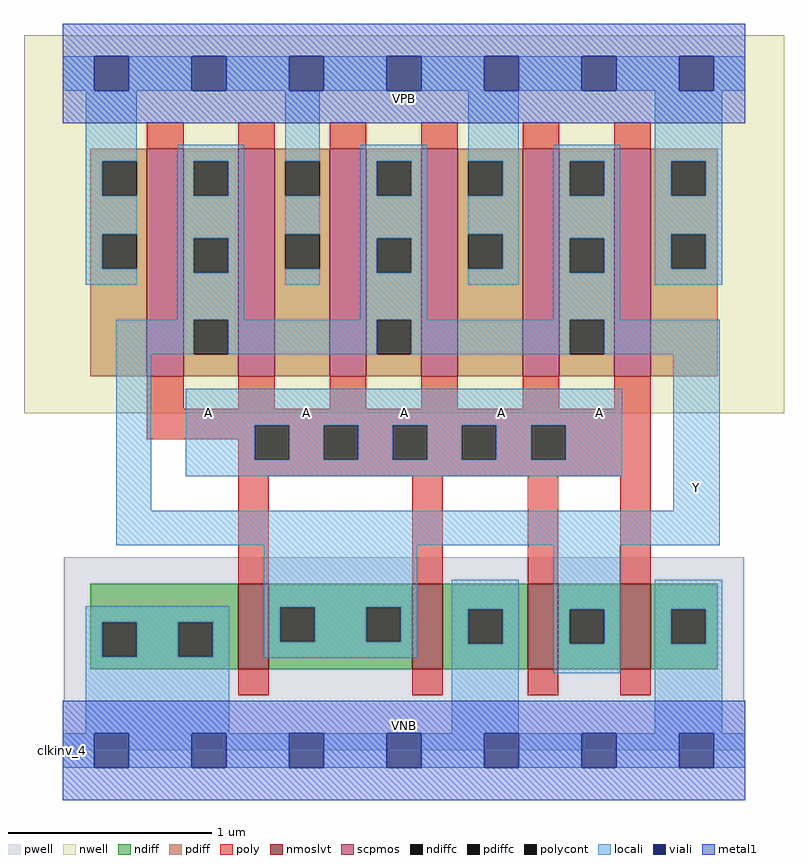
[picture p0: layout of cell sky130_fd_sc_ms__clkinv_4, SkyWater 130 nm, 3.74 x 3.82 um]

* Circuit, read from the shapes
.subckt sky130_fd_sc_ms__clkinv_4 A VGND VNB VPB VPWR Y
XM1 Y A VGND VNB sky130_fd_pr__nfet_01v8_lvt w=0.42 l=0.15 m=4
XM2 Y A VPWR VPB sky130_fd_pr__pfet_01v8 w=1.12 l=0.18 m=6
.ends

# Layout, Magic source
magic
tech sky130A
magscale 1 2
<< nwell >>
rect -38 332 710 704
<< pwell >>
rect 1 49 671 190
rect 0 0 672 49
<< scpmos >>
rect 83 368 119 592
rect 173 368 209 592
rect 263 368 299 592
rect 353 368 389 592
rect 453 368 489 592
rect 543 368 579 592
<< nmoslvt >>
rect 173 80 203 164
rect 344 80 374 164
rect 458 80 488 164
rect 549 80 579 164
<< ndiff >>
rect 27 126 173 164
rect 27 92 39 126
rect 73 92 114 126
rect 148 92 173 126
rect 27 80 173 92
rect 203 141 344 164
rect 203 107 214 141
rect 248 107 299 141
rect 333 107 344 141
rect 203 80 344 107
rect 374 139 458 164
rect 374 105 399 139
rect 433 105 458 139
rect 374 80 458 105
rect 488 139 549 164
rect 488 105 499 139
rect 533 105 549 139
rect 488 80 549 105
rect 579 139 645 164
rect 579 105 599 139
rect 633 105 645 139
rect 579 80 645 105
<< pdiff >>
rect 27 580 83 592
rect 27 546 39 580
rect 73 546 83 580
rect 27 508 83 546
rect 27 474 39 508
rect 73 474 83 508
rect 27 368 83 474
rect 119 580 173 592
rect 119 546 129 580
rect 163 546 173 580
rect 119 504 173 546
rect 119 470 129 504
rect 163 470 173 504
rect 119 424 173 470
rect 119 390 129 424
rect 163 390 173 424
rect 119 368 173 390
rect 209 580 263 592
rect 209 546 219 580
rect 253 546 263 580
rect 209 508 263 546
rect 209 474 219 508
rect 253 474 263 508
rect 209 368 263 474
rect 299 580 353 592
rect 299 546 309 580
rect 343 546 353 580
rect 299 504 353 546
rect 299 470 309 504
rect 343 470 353 504
rect 299 424 353 470
rect 299 390 309 424
rect 343 390 353 424
rect 299 368 353 390
rect 389 580 453 592
rect 389 546 399 580
rect 433 546 453 580
rect 389 508 453 546
rect 389 474 399 508
rect 433 474 453 508
rect 389 368 453 474
rect 489 580 543 592
rect 489 546 499 580
rect 533 546 543 580
rect 489 504 543 546
rect 489 470 499 504
rect 533 470 543 504
rect 489 424 543 470
rect 489 390 499 424
rect 533 390 543 424
rect 489 368 543 390
rect 579 580 645 592
rect 579 546 599 580
rect 633 546 645 580
rect 579 508 645 546
rect 579 474 599 508
rect 633 474 645 508
rect 579 368 645 474
<< ndiffc >>
rect 39 92 73 126
rect 114 92 148 126
rect 214 107 248 141
rect 299 107 333 141
rect 399 105 433 139
rect 499 105 533 139
rect 599 105 633 139
<< pdiffc >>
rect 39 546 73 580
rect 39 474 73 508
rect 129 546 163 580
rect 129 470 163 504
rect 129 390 163 424
rect 219 546 253 580
rect 219 474 253 508
rect 309 546 343 580
rect 309 470 343 504
rect 309 390 343 424
rect 399 546 433 580
rect 399 474 433 508
rect 499 546 533 580
rect 499 470 533 504
rect 499 390 533 424
rect 599 546 633 580
rect 599 474 633 508
<< poly >>
rect 83 592 119 618
rect 173 592 209 618
rect 263 592 299 618
rect 353 592 389 618
rect 453 592 489 618
rect 543 592 579 618
rect 83 336 119 368
rect 173 336 209 368
rect 263 336 299 368
rect 353 336 389 368
rect 453 336 489 368
rect 543 336 579 368
rect 83 320 579 336
rect 83 306 189 320
rect 173 286 189 306
rect 223 286 257 320
rect 291 286 325 320
rect 359 286 393 320
rect 427 286 461 320
rect 495 286 579 320
rect 173 270 579 286
rect 173 164 203 270
rect 344 164 374 270
rect 458 164 488 270
rect 549 164 579 270
rect 173 54 203 80
rect 344 54 374 80
rect 458 54 488 80
rect 549 54 579 80
<< polycont >>
rect 189 286 223 320
rect 257 286 291 320
rect 325 286 359 320
rect 393 286 427 320
rect 461 286 495 320
<< locali >>
rect 0 649 31 683
rect 65 649 127 683
rect 161 649 223 683
rect 257 649 319 683
rect 353 649 415 683
rect 449 649 511 683
rect 545 649 607 683
rect 641 649 672 683
rect 23 580 73 649
rect 23 546 39 580
rect 23 508 73 546
rect 23 474 39 508
rect 23 458 73 474
rect 113 580 179 596
rect 113 546 129 580
rect 163 546 179 580
rect 113 504 179 546
rect 113 470 129 504
rect 163 470 179 504
rect 113 424 179 470
rect 219 580 253 649
rect 219 508 253 546
rect 219 458 253 474
rect 293 580 359 596
rect 293 546 309 580
rect 343 546 359 580
rect 293 504 359 546
rect 293 470 309 504
rect 343 470 359 504
rect 293 424 359 470
rect 399 580 449 649
rect 433 546 449 580
rect 399 508 449 546
rect 433 474 449 508
rect 399 458 449 474
rect 483 580 549 596
rect 483 546 499 580
rect 533 546 549 580
rect 483 504 549 546
rect 483 470 499 504
rect 533 470 549 504
rect 483 424 549 470
rect 583 580 649 649
rect 583 546 599 580
rect 633 546 649 580
rect 583 508 649 546
rect 583 474 599 508
rect 633 474 649 508
rect 583 458 649 474
rect 53 390 129 424
rect 163 390 309 424
rect 343 390 499 424
rect 533 390 647 424
rect 53 236 87 390
rect 121 320 551 356
rect 121 286 189 320
rect 223 286 257 320
rect 291 286 325 320
rect 359 286 393 320
rect 427 286 461 320
rect 495 286 551 320
rect 121 270 551 286
rect 601 236 647 390
rect 53 202 647 236
rect 23 126 164 142
rect 23 92 39 126
rect 73 92 114 126
rect 148 92 164 126
rect 23 17 164 92
rect 198 141 349 202
rect 198 107 214 141
rect 248 107 299 141
rect 333 107 349 141
rect 198 91 349 107
rect 383 139 449 168
rect 383 105 399 139
rect 433 105 449 139
rect 383 17 449 105
rect 483 139 549 202
rect 483 105 499 139
rect 533 105 549 139
rect 483 76 549 105
rect 583 139 649 168
rect 583 105 599 139
rect 633 105 649 139
rect 583 17 649 105
rect 0 -17 31 17
rect 65 -17 127 17
rect 161 -17 223 17
rect 257 -17 319 17
rect 353 -17 415 17
rect 449 -17 511 17
rect 545 -17 607 17
rect 641 -17 672 17
<< viali >>
rect 31 649 65 683
rect 127 649 161 683
rect 223 649 257 683
rect 319 649 353 683
rect 415 649 449 683
rect 511 649 545 683
rect 607 649 641 683
rect 31 -17 65 17
rect 127 -17 161 17
rect 223 -17 257 17
rect 319 -17 353 17
rect 415 -17 449 17
rect 511 -17 545 17
rect 607 -17 641 17
<< metal1 >>
rect 0 683 672 715
rect 0 649 31 683
rect 65 649 127 683
rect 161 649 223 683
rect 257 649 319 683
rect 353 649 415 683
rect 449 649 511 683
rect 545 649 607 683
rect 641 649 672 683
rect 0 617 672 649
rect 0 17 672 49
rect 0 -17 31 17
rect 65 -17 127 17
rect 161 -17 223 17
rect 257 -17 319 17
rect 353 -17 415 17
rect 449 -17 511 17
rect 545 -17 607 17
rect 641 -17 672 17
rect 0 -49 672 -17
<< labels >>
flabel pwell s 0 0 672 49 0 FreeSans 200 0 0 0 VNB
port 3 nsew ground bidirectional
flabel nwell s 0 617 672 666 0 FreeSans 200 0 0 0 VPB
port 4 nsew power bidirectional
rlabel comment s 0 0 0 0 4 clkinv_4
flabel metal1 s 0 617 672 666 0 FreeSans 340 0 0 0 VPWR
port 5 nsew power bidirectional
flabel metal1 s 0 0 672 49 0 FreeSans 340 0 0 0 VGND
port 2 nsew ground bidirectional
flabel locali s 607 242 641 276 0 FreeSans 340 0 0 0 Y
port 6 nsew signal output
flabel locali s 127 316 161 350 0 FreeSans 340 0 0 0 A
port 1 nsew signal input
flabel locali s 223 316 257 350 0 FreeSans 340 0 0 0 A
port 1 nsew signal input
flabel locali s 319 316 353 350 0 FreeSans 340 0 0 0 A
port 1 nsew signal input
flabel locali s 415 316 449 350 0 FreeSans 340 0 0 0 A
port 1 nsew signal input
flabel locali s 511 316 545 350 0 FreeSans 340 0 0 0 A
port 1 nsew signal input
<< properties >>
string LEFsite unit
string LEFclass CORE
string FIXED_BBOX 0 0 672 666
string GDS_FILE $PDKPATH/libs.ref/sky130_fd_sc_ms/gds/sky130_fd_sc_ms.gds
string LEFsymmetry X Y
string GDS_END 2681562
string GDS_START 2675704
<< end >>
